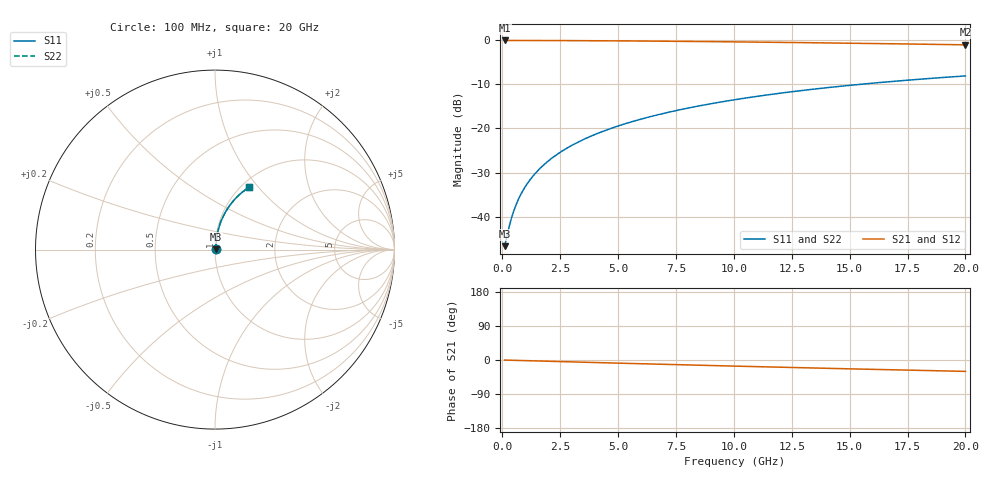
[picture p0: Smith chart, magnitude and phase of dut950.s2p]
! Touchstone file exported from HFSS 2024.1.0
!  File:  C:/UserFiles/LocalFiles/RDL_TSV_Batchsim/temp_RDL_top_950_1779937997.aedt
!  Generated:  11:15:51 AM May 28, 2026
!  Design:  RDL_top
!  Project:  temp_RDL_top_950_1779937997
!  Setup:  Setup1
!  Solution:  Sweep
! Variables:
!  dtsv = 10.80580581um
!  hbump = 3um
!  htsv = 67.8um
!  ldown = 100um
!  lrdl = 306.89um
!  p = 40
!  p1 = 58um
!  rhole = 1um
!  t = 450um
!  tdown = 3.915915916um
!  trdl = 2.51um
!  wdown = 15.38538539um
!  wrdl = 11.06um
# GHz S MA R 50.000000
! Terminal data exported
! Port[1] = Box2_T1
! Port[2] = Box2_T2
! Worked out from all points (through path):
!   200 points, 100 MHz to 20 GHz, reference 50 ohm
!   highest |S21| = -0.04 dB at 100 MHz (marker M1); lowest = -1.0 dB at 20 GHz (marker M2)
!   group delay of S21, straight-line fit = 4.17 ps
!   lowest |S11| = -46.7 dB at 100 MHz (marker M3), VSWR 1.01, Z = 50.4 + j0.221 ohm
!   |S11| at or under -10 dB: start of sweep to 15.43 GHz
!   |S22| runs from -46.7 to -8.1 dB; largest |S21 - S12| = 3.5e-15
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0.1  0.004629 28.3  0.9959 -0.2  0.9959 -0.2  0.004629 28.3
! Gamma 0 0 0 0
! Port Impedance 50 0 50 0
0.3  0.007771 57.5  0.9958 -0.5  0.9958 -0.5  0.007771 57.5
0.4  0.009697 64.0  0.9958 -0.7  0.9958 -0.7  0.009697 64.0
0.5  0.0117 68.2  0.9957 -0.9  0.9957 -0.9  0.0117 68.2
0.6  0.01374 71.1  0.9956 -1.0  0.9956 -1.0  0.01374 71.1
0.7  0.0158 73.3  0.9955 -1.2  0.9955 -1.2  0.0158 73.3
0.9  0.01996 76.2  0.9953 -1.5  0.9953 -1.5  0.01996 76.2
1.2  0.02624 78.7  0.9949 -2.0  0.9949 -2.0  0.02624 78.7
1.4  0.03045 79.7  0.9946 -2.4  0.9946 -2.4  0.03044 79.7
1.7  0.03677 80.7  0.9942 -2.9  0.9942 -2.9  0.03677 80.7
2.2  0.04733 81.5  0.9933 -3.7  0.9933 -3.7  0.04733 81.5
2.8  0.06004 81.8  0.992 -4.7  0.992 -4.7  0.06004 81.8
3.5  0.07488 81.8  0.9903 -5.8  0.9903 -5.8  0.07488 81.8
4.2  0.08973 81.4  0.9881 -7.0  0.9881 -7.0  0.08973 81.4
5  0.1067 80.8  0.9853 -8.3  0.9853 -8.3  0.1067 80.8
5.9  0.1258 79.9  0.9817 -9.7  0.9817 -9.7  0.1258 79.9
6.8  0.1448 78.9  0.9777 -11.2  0.9777 -11.2  0.1448 78.9
8.3  0.1762 77.0  0.9702 -13.5  0.9702 -13.5  0.1762 77.0
10.1  0.2132 74.7  0.9599 -16.3  0.9599 -16.3  0.2133 74.7
13.4  0.2784 70.2  0.9384 -21.1  0.9384 -21.1  0.2784 70.2
16.7  0.3391 65.7  0.9144 -25.7  0.9144 -25.7  0.3391 65.7
20  0.3946 61.4  0.8888 -30.0  0.8888 -30.0  0.3947 61.4
